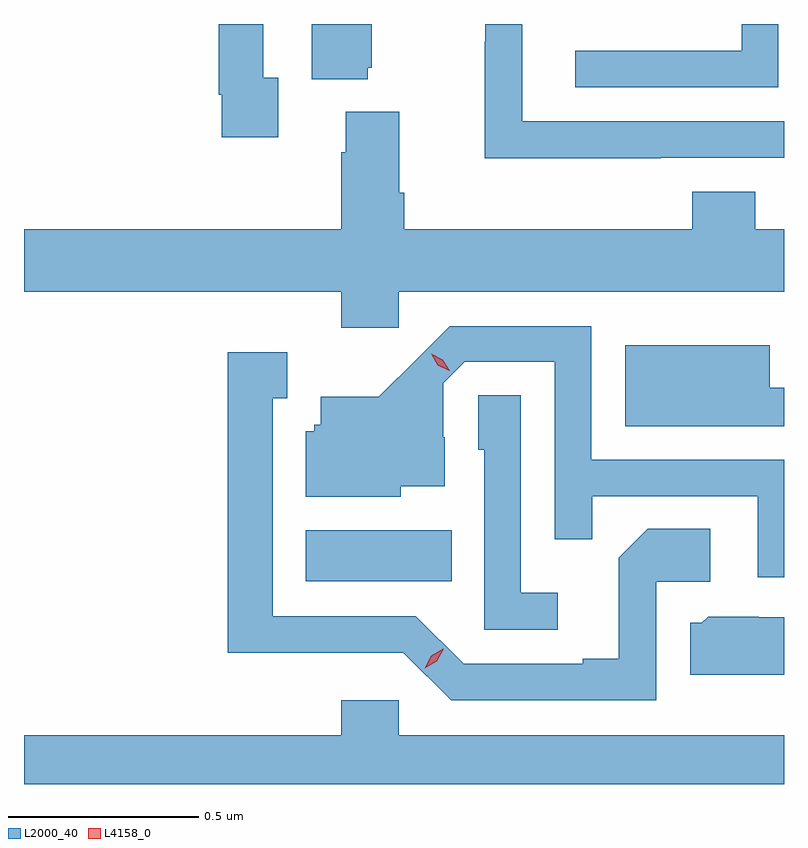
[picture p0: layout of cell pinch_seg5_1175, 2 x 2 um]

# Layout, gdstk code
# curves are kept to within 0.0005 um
import gdstk
lib = gdstk.Library(unit=1e-6, precision=1e-09)
def R(c, l, rs):  # rectangles x0, y0, x1, y1
    for r in rs: c.add(gdstk.rectangle(r[:2], r[2:], *l))
def P(c, l, *ps):  # polygons
    for p in ps: c.add(gdstk.Polygon(p, *l))
L2000_40 = (2000, 40)
L4158_0 = (4158, 0)

pinch_seg5_1175 = lib.new_cell('pinch_seg5_1175')
R(pinch_seg5_1175, L2000_40, [(789.83,849.338,790.214,849.472)])
P(pinch_seg5_1175, L2000_40, [(791.073,850.804),(790.977,850.804),(790.977,850.734),(790.539,850.734),(790.539,850.638),(791.073,850.638)],
  [(789.757,850.662),(789.717,850.662),(789.717,850.804),(789.601,850.804),(789.601,850.618),(789.609,850.618),(789.609,850.506),(789.757,850.506)],
  [(790.763,850.452),(791.088,850.452),(791.088,850.548),(790.399,850.548),(790.399,850.802),(790.398,850.802),(790.398,850.804),(790.302,850.804),(790.302,850.757),(790.3,850.757),(790.3,850.451),(790.763,850.451)],
  [(789.992,850.689),(790.003,850.689),(790.003,850.804),(789.845,850.804),(789.845,850.658),(789.992,850.658)],
  [(790.074,850.1),(791.088,850.1),(791.088,850.264),(791.012,850.264),(791.012,850.363),(790.847,850.363),(790.847,850.264),(790.088,850.264),(790.088,850.36),(790.075,850.36),(790.075,850.573),(789.935,850.573),(789.935,850.466),(789.923,850.466),(789.923,850.264),(789.088,850.264),(789.088,850.1),(789.923,850.1),(789.923,850.005),(790.074,850.005)],
  [(791.088,849.657),(790.581,849.657),(790.581,850.008),(790.208,850.008),(790.021,849.823),(789.869,849.823),(789.869,849.75),(789.852,849.75),(789.852,849.732),(789.83,849.732),(789.83,849.56),(790.08,849.56),(790.08,849.587),(790.195,849.587),(790.195,849.716),(790.191,849.716),(790.191,849.858),(790.248,849.915),(790.485,849.915),(790.485,849.448),(790.583,849.448),(790.583,849.561),(791.019,849.561),(791.019,849.348),(791.088,849.348)],
  [(791.088,849.847),(791.05,849.847),(791.05,849.958),(790.67,849.958),(790.67,849.746),(791.088,849.746)],
  [(790.752,849.336),(790.894,849.336),(790.894,849.476),(790.729,849.476),(790.653,849.4),(790.653,849.133),(790.559,849.133),(790.559,849.12),(790.245,849.12),(790.119,849.246),(789.742,849.246),(789.742,849.819),(789.781,849.819),(789.781,849.94),(789.624,849.94),(789.624,849.149),(789.864,849.149),(789.864,849.15),(790.086,849.15),(790.212,849.024),(790.752,849.024)],
  [(790.492,849.307),(790.395,849.307),(790.395,849.827),(790.284,849.827),(790.284,849.684),(790.299,849.684),(790.299,849.21),(790.492,849.21)],
  [(791.088,849.243),(791.022,849.243),(791.022,849.244),(790.888,849.244),(790.872,849.228),(790.841,849.228),(790.841,849.092),(791.088,849.092)],
  [(791.088,848.932),(790.074,848.932),(790.074,849.025),(789.923,849.025),(789.923,848.932),(789.088,848.932),(789.088,848.804),(791.088,848.804)])
P(pinch_seg5_1175, L4158_0, [(790.142,849.108),(790.142,849.109),(790.16,849.141),(790.191,849.16),(790.192,849.16),(790.192,849.16),(790.174,849.127),(790.142,849.108)],
  [(790.207,849.891),(790.177,849.906),(790.16,849.936),(790.16,849.936),(790.16,849.936),(790.19,849.921),(790.208,849.891),(790.208,849.891)])

lib.write_gds('pinch_seg5_1175.gds')
